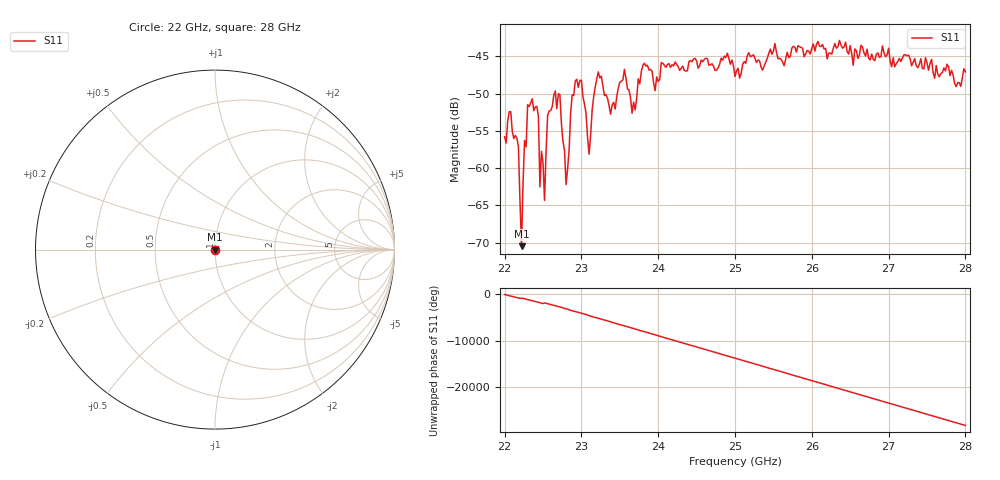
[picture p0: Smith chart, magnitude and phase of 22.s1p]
#  HZ  S  RI  R  50.00
! Rohde & Schwarz ZVA40 4Ports - Version 3.90 - 1145.1110k42 SN: 100403
! Date: 2023-10-04 07:17:21
! Measurement: S12
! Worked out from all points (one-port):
!   301 points, 22 GHz to 28 GHz, reference 50 ohm
!   lowest |S11| = -70.5 dB at 22.22 GHz (marker M1), VSWR 1.00, Z = 50 - j0.0145 ohm
!   |S11| at or under -10 dB: start of sweep to end of sweep
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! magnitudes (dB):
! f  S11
! 22 GHz  -55.8
! 22.18 GHz  -57.1
! 22.22 GHz  -70.5
! 22.26 GHz  -56.3
! 22.3 GHz  -51.5
! 22.42 GHz  -51.7
! 22.46 GHz  -62.5
! 22.48 GHz  -57.7
! 22.52 GHz  -64.3
! 22.56 GHz  -52.9
! 22.64 GHz  -50.3
! 22.72 GHz  -50.2
! 22.76 GHz  -56.4
! 22.8 GHz  -62.2
! 22.92 GHz  -48.3
! 23 GHz  -48.2
! 23.1 GHz  -58.1
! 23.22 GHz  -47.1
! 23.38 GHz  -52.8
! 23.5 GHz  -48.5
! 23.66 GHz  -52.6
! 23.82 GHz  -45.9
! 24.26 GHz  -46.4
! 25 GHz  -47.7
! 25.76 GHz  -43.7
! 26.5 GHz  -43.6
! 27.26 GHz  -44.8
! 28 GHz  -47.1
